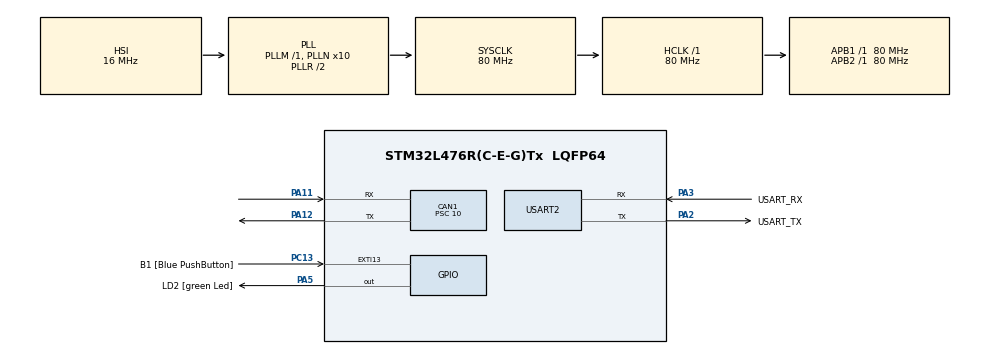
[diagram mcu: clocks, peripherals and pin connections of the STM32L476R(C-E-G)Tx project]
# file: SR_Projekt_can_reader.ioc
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CAN1.ABOM=ENABLE
CAN1.BS1=CAN_BS1_13TQ
CAN1.BS2=CAN_BS2_2TQ
CAN1.CalculateBaudRate=500000
CAN1.CalculateTimeBit=2000
CAN1.CalculateTimeQuantum=125.0
CAN1.Mode=CAN_MODE_SILENT
CAN1.Prescaler=10
Mcu.Family=STM32L4
Mcu.Name=STM32L476R(C-E-G)Tx
Mcu.Package=LQFP64
Mcu.UserConstants=TIM6_PRESCALER,19999;TIM6_PERIOD,3999
NVIC.CAN1_RX0_IRQn=true\:0\:0\:false\:false\:true\:true\:true\:true
NVIC.PriorityGroup=NVIC_PRIORITYGROUP_4
NVIC.TIM6_DAC_IRQn=true\:0\:0\:false\:false\:true\:true\:true\:true
PA11.Mode=CAN_Activate
PA11.Signal=CAN1_RX
PA12.Mode=CAN_Activate
PA12.Signal=CAN1_TX
PA13\ (JTMS-SWDIO).GPIO_Label=TMS
PA13\ (JTMS-SWDIO).Mode=Serial_Wire
PA13\ (JTMS-SWDIO).Signal=SYS_JTMS-SWDIO
PA14\ (JTCK-SWCLK).GPIO_Label=TCK
PA14\ (JTCK-SWCLK).Mode=Serial_Wire
PA14\ (JTCK-SWCLK).Signal=SYS_JTCK-SWCLK
PA2.GPIO_Label=USART_TX
PA2.GPIO_Mode=GPIO_MODE_AF_PP
PA2.GPIO_PuPd=GPIO_NOPULL
PA2.GPIO_Speed=GPIO_SPEED_FREQ_VERY_HIGH
PA2.Mode=Asynchronous
PA2.Signal=USART2_TX
PA3.GPIO_Label=USART_RX
PA3.GPIO_Mode=GPIO_MODE_AF_PP
PA3.GPIO_PuPd=GPIO_NOPULL
PA3.GPIO_Speed=GPIO_SPEED_FREQ_VERY_HIGH
PA3.Mode=Asynchronous
PA3.Signal=USART2_RX
PA5.GPIO_Label=LD2 [green Led]
PA5.GPIO_ModeDefaultOutputPP=GPIO_MODE_OUTPUT_PP
PA5.GPIO_PuPd=GPIO_NOPULL
PA5.GPIO_Speed=GPIO_SPEED_FREQ_LOW
PA5.Signal=GPIO_Output
PB3\ (JTDO-TRACESWO).GPIO_Label=SWO
PB3\ (JTDO-TRACESWO).Signal=SYS_JTDO-SWO
PC13.GPIO_Label=B1 [Blue PushButton]
PC13.GPIO_ModeDefaultEXTI=GPIO_MODE_IT_FALLING
PC13.GPIO_PuPd=GPIO_NOPULL
PC13.Signal=GPXTI13
PC14-OSC32_IN\ (PC14).Mode=LSE-External-Oscillator
PC14-OSC32_IN\ (PC14).Signal=RCC_OSC32_IN
PC15-OSC32_OUT\ (PC15).Mode=LSE-External-Oscillator
PC15-OSC32_OUT\ (PC15).Signal=RCC_OSC32_OUT
PH0-OSC_IN\ (PH0).Signal=RCC_OSC_IN
PH1-OSC_OUT\ (PH1).Signal=RCC_OSC_OUT
ProjectManager.HeapSize=0x200
ProjectManager.StackSize=0x400
ProjectManager.TargetToolchain=STM32CubeIDE
RCC.ADCFreq_Value=64000000
RCC.AHBFreq_Value=80000000
RCC.APB1Freq_Value=80000000
RCC.APB1TimFreq_Value=80000000
RCC.APB2Freq_Value=80000000
RCC.APB2TimFreq_Value=80000000
RCC.CortexFreq_Value=80000000
RCC.HCLKFreq_Value=80000000
RCC.HSE_VALUE=8000000
RCC.HSI_VALUE=16000000
RCC.MSI_VALUE=4000000
RCC.PLLN=10
RCC.PLLSourceVirtual=RCC_PLLSOURCE_HSI
RCC.PREFETCH_ENABLE=1
RCC.SYSCLKFreq_VALUE=80000000
RCC.SYSCLKSource=RCC_SYSCLKSOURCE_PLLCLK
RCC.USBFreq_Value=64000000
RCC.VCOOutputFreq_Value=160000000
TIM6.AutoReloadPreload=TIM_AUTORELOAD_PRELOAD_ENABLE
TIM6.Period=TIM6_PERIOD
TIM6.Prescaler=TIM6_PRESCALER
USART2.VirtualMode-Asynchronous=VM_ASYNC
VP_TIM6_VS_ClockSourceINT.Mode=Enable_Timer
board=NUCLEO-L476RG

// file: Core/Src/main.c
/* USER CODE BEGIN Header */
/**
  ******************************************************************************
  * @file           : main.c
  * @brief          : Main program body
  ******************************************************************************
  * @attention
  *
  * Copyright (c) 2026 STMicroelectronics.
  * All rights reserved.
  *
  * This software is licensed under terms that can be found in the LICENSE file
  * in the root directory of this software component.
  * If no LICENSE file comes with this software, it is provided AS-IS.
  *
  ******************************************************************************
  */
/* USER CODE END Header */
#include "main.h"

/* USER CODE BEGIN Includes */

#include <stdio.h>

/* USER CODE END Includes */

/* USER CODE BEGIN PD */

#define message_ID 0x280u

/* USER CODE END PD */

CAN_HandleTypeDef hcan1;

TIM_HandleTypeDef htim6;

UART_HandleTypeDef huart2;

void SystemClock_Config(void);
static void MX_GPIO_Init(void);
static void MX_USART2_UART_Init(void);
static void MX_CAN1_Init(void);
static void MX_TIM6_Init(void);

/* USER CODE BEGIN 0 */

volatile int flag;
volatile uint16_t rpm;

CAN_FilterTypeDef filter = {0};

int _write(int file, char *ptr, int len){
	HAL_UART_Transmit(&huart2, ptr, len, 50);
	return len;
}

void HAL_TIM_PeriodElapsedCallback(TIM_HandleTypeDef *htim){
	if(htim == &htim6){
		flag = 1;
	}
}

void config_can_filter(){
	filter.FilterBank = 0;
	filter.FilterMode = CAN_FILTERMODE_IDMASK;
	filter.FilterScale = CAN_FILTERSCALE_32BIT;
	filter.FilterIdHigh = message_ID << 5;
	filter.FilterIdLow = 0;
	filter.FilterMaskIdHigh = 0xFFE0;    /* compare all 11 ID bits */
	filter.FilterMaskIdLow = 0x0004;    /* standard frames only   */
	filter.FilterFIFOAssignment = CAN_RX_FIFO0;
	filter.FilterActivation = ENABLE;
	filter.SlaveStartFilterBank = 14;

	HAL_CAN_ConfigFilter(&hcan1, &filter);
}

void HAL_CAN_RxFifo0MsgPendingCallback(CAN_HandleTypeDef *hcan){
	CAN_RxHeaderTypeDef header;
	uint8_t data[8];

	if(HAL_CAN_GetRxMessage(hcan, CAN_RX_FIFO0, &header, data) == HAL_OK){
		rpm = (uint16_t)((data[2] | (data[3] << 8)) / 4);
	}
}

/* USER CODE END 0 */

int main(void)
{

  /* MCU Configuration--------------------------------------------------------*/

  /* Reset of all peripherals, Initializes the Flash interface and the Systick. */
  HAL_Init();

  /* Configure the system clock */
  SystemClock_Config();

  /* Initialize all configured peripherals */
  MX_GPIO_Init();
  MX_USART2_UART_Init();
  MX_CAN1_Init();
  MX_TIM6_Init();
  /* USER CODE BEGIN 2 */

  HAL_TIM_Base_Start_IT(&htim6);

  flag = 0;

  config_can_filter();

  HAL_CAN_ActivateNotification(&hcan1, CAN_IT_RX_FIFO0_MSG_PENDING);
  HAL_CAN_Start(&hcan1);

  /* USER CODE END 2 */

  /* Infinite loop */
  /* USER CODE BEGIN WHILE */
  while (1)
  {

	  if(flag == 1){
		  //HAL_GPIO_TogglePin(LD2_GPIO_Port, LD2_Pin);

		  printf("# RPM: %u\r\n", (unsigned)rpm);

		  flag = 0;
	  }
    /* USER CODE END WHILE */

  }
}

void SystemClock_Config(void)
{
  RCC_OscInitTypeDef RCC_OscInitStruct = {0};
  RCC_ClkInitTypeDef RCC_ClkInitStruct = {0};

  /** Configure the main internal regulator output voltage
  */
  if (HAL_PWREx_ControlVoltageScaling(PWR_REGULATOR_VOLTAGE_SCALE1) != HAL_OK)
  {
    Error_Handler();
  }

  /** Initializes the RCC Oscillators according to the specified parameters
  * in the RCC_OscInitTypeDef structure.
  */
  RCC_OscInitStruct.OscillatorType = RCC_OSCILLATORTYPE_HSI;
  RCC_OscInitStruct.HSIState = RCC_HSI_ON;
  RCC_OscInitStruct.HSICalibrationValue = RCC_HSICALIBRATION_DEFAULT;
  RCC_OscInitStruct.PLL.PLLState = RCC_PLL_ON;
  RCC_OscInitStruct.PLL.PLLSource = RCC_PLLSOURCE_HSI;
  RCC_OscInitStruct.PLL.PLLM = 1;
  RCC_OscInitStruct.PLL.PLLN = 10;
  RCC_OscInitStruct.PLL.PLLP = RCC_PLLP_DIV7;
  RCC_OscInitStruct.PLL.PLLQ = RCC_PLLQ_DIV2;
  RCC_OscInitStruct.PLL.PLLR = RCC_PLLR_DIV2;
  if (HAL_RCC_OscConfig(&RCC_OscInitStruct) != HAL_OK)
  {
    Error_Handler();
  }

  /** Initializes the CPU, AHB and APB buses clocks
  */
  RCC_ClkInitStruct.ClockType = RCC_CLOCKTYPE_HCLK|RCC_CLOCKTYPE_SYSCLK
                              |RCC_CLOCKTYPE_PCLK1|RCC_CLOCKTYPE_PCLK2;
  RCC_ClkInitStruct.SYSCLKSource = RCC_SYSCLKSOURCE_PLLCLK;
  RCC_ClkInitStruct.AHBCLKDivider = RCC_SYSCLK_DIV1;
  RCC_ClkInitStruct.APB1CLKDivider = RCC_HCLK_DIV1;
  RCC_ClkInitStruct.APB2CLKDivider = RCC_HCLK_DIV1;

  if (HAL_RCC_ClockConfig(&RCC_ClkInitStruct, FLASH_LATENCY_4) != HAL_OK)
  {
    Error_Handler();
  }
}

static void MX_CAN1_Init(void)
{

  hcan1.Instance = CAN1;
  hcan1.Init.Prescaler = 10;
  hcan1.Init.Mode = CAN_MODE_SILENT;
  hcan1.Init.SyncJumpWidth = CAN_SJW_1TQ;
  hcan1.Init.TimeSeg1 = CAN_BS1_13TQ;
  hcan1.Init.TimeSeg2 = CAN_BS2_2TQ;
  hcan1.Init.TimeTriggeredMode = DISABLE;
  hcan1.Init.AutoBusOff = ENABLE;
  hcan1.Init.AutoWakeUp = DISABLE;
  hcan1.Init.AutoRetransmission = DISABLE;
  hcan1.Init.ReceiveFifoLocked = DISABLE;
  hcan1.Init.TransmitFifoPriority = DISABLE;
  if (HAL_CAN_Init(&hcan1) != HAL_OK)
  {
    Error_Handler();
  }

}

static void MX_TIM6_Init(void)
{

  TIM_MasterConfigTypeDef sMasterConfig = {0};

  htim6.Instance = TIM6;
  htim6.Init.Prescaler = TIM6_PRESCALER;
  htim6.Init.CounterMode = TIM_COUNTERMODE_UP;
  htim6.Init.Period = TIM6_PERIOD;
  htim6.Init.AutoReloadPreload = TIM_AUTORELOAD_PRELOAD_ENABLE;
  if (HAL_TIM_Base_Init(&htim6) != HAL_OK)
  {
    Error_Handler();
  }
  sMasterConfig.MasterOutputTrigger = TIM_TRGO_RESET;
  sMasterConfig.MasterSlaveMode = TIM_MASTERSLAVEMODE_DISABLE;
  if (HAL_TIMEx_MasterConfigSynchronization(&htim6, &sMasterConfig) != HAL_OK)
  {
    Error_Handler();
  }

}

static void MX_USART2_UART_Init(void)
{

  huart2.Instance = USART2;
  huart2.Init.BaudRate = 115200;
  huart2.Init.WordLength = UART_WORDLENGTH_8B;
  huart2.Init.StopBits = UART_STOPBITS_1;
  huart2.Init.Parity = UART_PARITY_NONE;
  huart2.Init.Mode = UART_MODE_TX_RX;
  huart2.Init.HwFlowCtl = UART_HWCONTROL_NONE;
  huart2.Init.OverSampling = UART_OVERSAMPLING_16;
  huart2.Init.OneBitSampling = UART_ONE_BIT_SAMPLE_DISABLE;
  huart2.AdvancedInit.AdvFeatureInit = UART_ADVFEATURE_NO_INIT;
  if (HAL_UART_Init(&huart2) != HAL_OK)
  {
    Error_Handler();
  }

}

static void MX_GPIO_Init(void)
{
  GPIO_InitTypeDef GPIO_InitStruct = {0};

  /* GPIO Ports Clock Enable */
  __HAL_RCC_GPIOC_CLK_ENABLE();
  __HAL_RCC_GPIOH_CLK_ENABLE();
  __HAL_RCC_GPIOA_CLK_ENABLE();
  __HAL_RCC_GPIOB_CLK_ENABLE();

  /*Configure GPIO pin Output Level */
  HAL_GPIO_WritePin(LD2_GPIO_Port, LD2_Pin, GPIO_PIN_RESET);

  /*Configure GPIO pin : B1_Pin */
  GPIO_InitStruct.Pin = B1_Pin;
  GPIO_InitStruct.Mode = GPIO_MODE_IT_FALLING;
  GPIO_InitStruct.Pull = GPIO_NOPULL;
  HAL_GPIO_Init(B1_GPIO_Port, &GPIO_InitStruct);

  /*Configure GPIO pin : LD2_Pin */
  GPIO_InitStruct.Pin = LD2_Pin;
  GPIO_InitStruct.Mode = GPIO_MODE_OUTPUT_PP;
  GPIO_InitStruct.Pull = GPIO_NOPULL;
  GPIO_InitStruct.Speed = GPIO_SPEED_FREQ_LOW;
  HAL_GPIO_Init(LD2_GPIO_Port, &GPIO_InitStruct);

}

void Error_Handler(void)
{
  __disable_irq();
  while (1)
  {
  }
}
